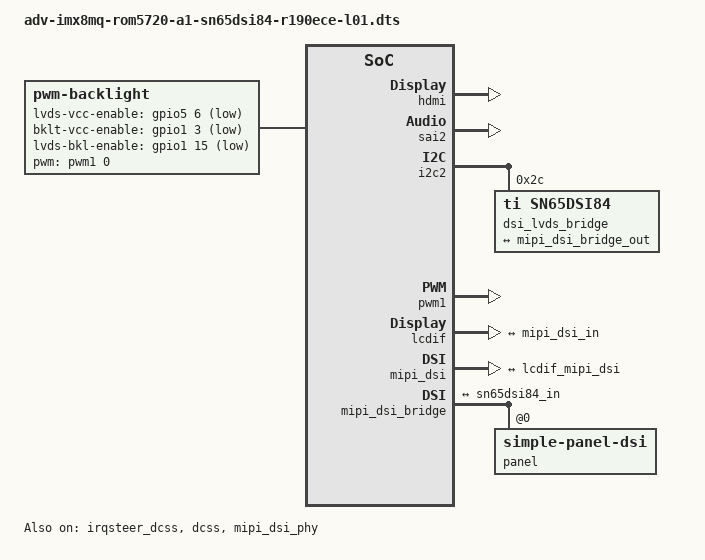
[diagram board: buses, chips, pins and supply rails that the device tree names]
/*
 * Copyright 2018 NXP
 *
 * This program is free software; you can redistribute it and/or
 * modify it under the terms of the GNU General Public License
 * as published by the Free Software Foundation; either version 2
 * of the License, or (at your option) any later version.
 *
 * This program is distributed in the hope that it will be useful,
 * but WITHOUT ANY WARRANTY; without even the implied warranty of
 * MERCHANTABILITY or FITNESS FOR A PARTICULAR PURPOSE.  See the
 * GNU General Public License for more details.
 */

#include "adv-imx8mq-rom5720-a1.dts"
#include <dt-bindings/display/drm_mipi_dsi.h>

/ {
	display-subsystem {
		status = "okay";
	};

	sound {
		status = "disabled";
	};

	sound-hdmi {
		status = "disabled";
	};

	pcm5102a: pcm5102a {
		compatible = "ti,pcm5102a";
		#sound-dai-cells = <0>;
		clocks = <&clk IMX8MQ_CLK_SAI2_ROOT>;
		clock-names = "mclk";
		pinctrl-names = "default";
		pinctrl-0 = <&pinctrl_sai2_mclk>;
		status = "okay";
	};

	sound-pcm5102a {
		compatible = "simple-audio-card";
		simple-audio-card,format = "i2s";
		simple-audio-card,name = "pcm5102a-hifi";
		simple-audio-card,mclk-fs = <256>;
		status = "okay";

		simple-audio-card,cpu {
			sound-dai = <&sai2>;
		};
		simple-audio-card,codec {
			sound-dai = <&pcm5102a>;
		};
	};

	backlight: backlight {
		compatible = "pwm-backlight";
		pinctrl-names = "default";
        pinctrl-0 = <&pinctrl_lcd0>;
        lvds-vcc-enable = <&gpio5 6 1>;
        bklt-vcc-enable = <&gpio1 3 1>;
        lvds-bkl-enable = <&gpio1 15 1>;
        lvds-bkl-delay-time = <0>;
        bklt-pwm-delay-time = <100>;
        bklt-en-delay-time = <10>;
		pwms = <&pwm1 0 5000000 0>;
		brightness-levels = < 0  1  2  3  4  5  6  7  8  9
			     10 11 12 13 14 15 16 17 18 19
			     20 21 22 23 24 25 26 27 28 29
			     30 31 32 33 34 35 36 37 38 39
			     40 41 42 43 44 45 46 47 48 49
			     50 51 52 53 54 55 56 57 58 59
			     60 61 62 63 64 65 66 67 68 69
			     70 71 72 73 74 75 76 77 78 79
			     80 81 82 83 84 85 86 87 88 89
			     90 91 92 93 94 95 96 97 98 99
			    100>;
		default-brightness-level = <80>;
		status = "okay";
	};

	gpio_adv {
		compatible = "misc-adv-gpio";
		status = "okay";
	};
};

&hdmi {
	status = "okay";
};

&codec {
	status = "disabled";
};

&sai2 {
	#sound-dai-cells = <0>;
	clocks = <&clk IMX8MQ_CLK_SAI2_IPG>,
			<&clk IMX8MQ_CLK_DUMMY>,
			<&clk IMX8MQ_CLK_SAI2_ROOT>,
			<&clk IMX8MQ_CLK_DUMMY>,
			<&clk IMX8MQ_CLK_DUMMY>,
			<&clk IMX8MQ_AUDIO_PLL1_OUT>,
			<&clk IMX8MQ_AUDIO_PLL2_OUT>;
	clock-names = "bus", "mclk0", "mclk1", "mclk2", "mclk3", "pll8k", "pll11k";
	status = "okay";
};

&sai3 {
	status = "disabled";
};

&sai4 {
	status = "disabled";
};

&i2c2 {
	dsi_lvds_bridge: sn65dsi84@2c{
		reg = <0x2c>;
		status = "okay";
		compatible = "ti,sn65dsi84";

		sn65dsi84,addresses = <	0x09 0x0A 0x0B 0x0D 0x10 0x11 0x12 0x13
					0x18 0x19 0x1A 0x1B 0x20 0x21 0x22 0x23
					0x24 0x25 0x26 0x27 0x28 0x29 0x2A 0x2B
					0x2C 0x2D 0x2E 0x2F 0x30 0x31 0x32 0x33
					0x34 0x35 0x36 0x37 0x38 0x39 0x3A 0x3B
					0x3C 0x3D 0x3E 0x0D 0x09>;

		sn65dsi84,values =    <	0x01 0x03 0x28 0x00 0x26 0x00 0x40 0x00
					0x6c 0x00 0x03 0x00 0x00 0x05 0x00 0x00
					0x00 0x00 0x00 0x00 0x21 0x00 0x00 0x00
					0x64 0x00 0x00 0x00 0x1e 0x00 0x00 0x00
					0x50 0x00 0x00 0x00 0x00 0x00 0x00 0x00
					0x00 0x00 0x00 0x01 0x00>;
		port {
			sn65dsi84_in: endpoint {
				remote-endpoint = <&mipi_dsi_bridge_out>;
			};
		};
	};
};

&iomuxc {
	pinctrl-names = "default";
	pinctrl-0 = <&pinctrl_hog>;
	imx8mq-evk {
		pinctrl_lcd0: lcd0grp {
			fsl,pins = <
				MX8MQ_IOMUXC_ECSPI1_SCLK_GPIO5_IO6	0x19		/* LCD0_VDD_EN */
				MX8MQ_IOMUXC_GPIO1_IO03_GPIO1_IO3	0x19		/* LCD0_BKLT_VDD_EN */
				MX8MQ_IOMUXC_GPIO1_IO15_GPIO1_IO15	0x19		/* LCD0_BKLT_EN */
			>;
		};
		pinctrl_pwm1: pwm1grp {
			fsl,pins = <
				MX8MQ_IOMUXC_GPIO1_IO01_PWM1_OUT         0x06
			>;
		};
	};
};

&pwm1 {
 	status = "okay";
    pinctrl-names = "default";
    pinctrl-0 = <&pinctrl_pwm1>;
};

&lcdif {
	status = "okay";
	max-res = <1280>, <1024>;

	port@0 {
		lcdif_mipi_dsi: mipi-dsi-endpoint {
			remote-endpoint = <&mipi_dsi_in>;
		};
	};
};

&irqsteer_dcss {
	status = "okay";
};

&dcss {
 	status = "okay";
};

&mipi_dsi_phy {
	status = "okay";
};

&mipi_dsi {
	status = "okay";
	as_bridge;
	sync-pol = <1>;
	pwr-delay = <10>;

	port@1 {
		mipi_dsi_in: endpoint {
			remote-endpoint = <&lcdif_mipi_dsi>;
		};
	};
};

&mipi_dsi_bridge {
	status = "okay";

	panel@0 {
		compatible = "simple-panel-dsi";
		reg = <0>;
		//backlight = <&backlight>;
		dsi,flags = <(MIPI_DSI_MODE_VIDEO | MIPI_DSI_MODE_VIDEO_BURST |
					MIPI_DSI_MODE_LPM | MIPI_DSI_MODE_EOT_PACKET)>;
        dsi,format = <MIPI_DSI_FMT_RGB888>;
        dsi,lanes = <4>; 
        bus-format = <0x100a>;
        bus-flags = <10>;
		panel-init-sequence = [
						29 00 06 09 00 00 00 00 01 
						29 00 06 0A 00 00 00 00 03 
						29 00 06 0B 00 00 00 00 28 
						29 00 06 0D 00 00 00 00 00 
						29 00 06 10 00 00 00 00 26 
						29 00 06 11 00 00 00 00 00 
						29 00 06 12 00 00 00 00 40 
						29 00 06 13 00 00 00 00 00 
						29 00 06 18 00 00 00 00 6c 
						29 00 06 19 00 00 00 00 00 
						29 00 06 1A 00 00 00 00 03 
						29 00 06 1B 00 00 00 00 00 
						29 00 06 20 00 00 00 00 00 
						29 00 06 21 00 00 00 00 05 
						29 00 06 22 00 00 00 00 00 
						29 00 06 23 00 00 00 00 00 
						29 01 06 24 00 00 00 00 00 
						29 00 06 25 00 00 00 00 00 
						29 00 06 26 00 00 00 00 00 
						29 00 06 27 00 00 00 00 00 
						29 00 06 28 00 00 00 00 21 
						29 00 06 29 00 00 00 00 00 
						29 00 06 2A 00 00 00 00 00 
						29 00 06 2B 00 00 00 00 00 
						29 00 06 2C 00 00 00 00 64 
						29 00 06 2D 00 00 00 00 00 
						29 00 06 2E 00 00 00 00 00 
						29 00 06 2F 00 00 00 00 00 
						29 00 06 30 00 00 00 00 1e 
						29 00 06 31 00 00 00 00 00 
						29 00 06 32 00 00 00 00 00 
						29 00 06 33 00 00 00 00 00 
						29 00 06 34 00 00 00 00 50 
						29 00 06 35 00 00 00 00 00 
						29 00 06 36 00 00 00 00 00 
						29 00 06 37 00 00 00 00 00 
						29 00 06 38 00 00 00 00 00 
						29 00 06 39 00 00 00 00 00 
						29 00 06 3A 00 00 00 00 00 
						29 00 06 3B 00 00 00 00 00 
						29 00 06 3C 00 00 00 00 00 
						29 00 06 3D 00 00 00 00 00 
						29 00 06 3E 00 00 00 00 00 
						29 00 06 0D 00 00 00 00 01 
						29 00 06 09 00 00 00 00 00 
					];

		display-timings {
			native-mode = <&timing0>;
			timing0: timing0 {
        		 clock-frequency = <108000000>;
        		 hactive = <1280>;
        		 vactive = <1024>;
        		 hback-porch = <188>;
        		 hfront-porch = <200>;
        		 vback-porch = <12>;
        		 vfront-porch = <30>;
        		 hsync-len = <10>;
        		 vsync-len = <10>;
        		 hsync-active = <0>;
        		 vsync-active = <0>;
        		 de-active = <0>;
        		 pixelclk-active = <0>;
			 };
		};
	};

	port@1 {
		mipi_dsi_bridge_out: endpoint {
			remote-endpoint = <&sn65dsi84_in>;
		};
	};
};
